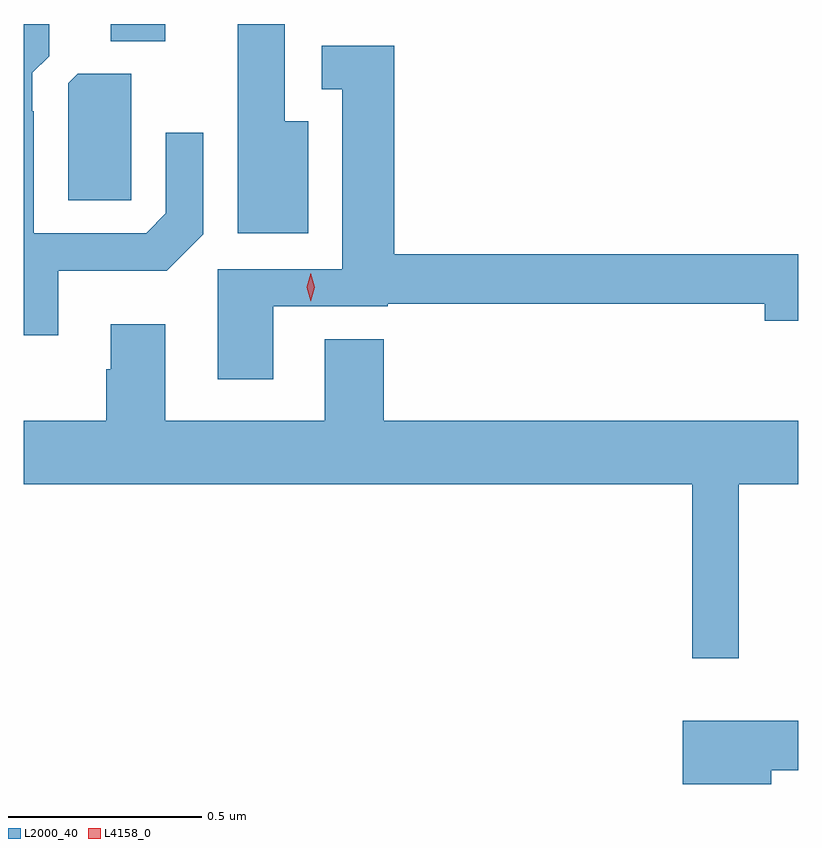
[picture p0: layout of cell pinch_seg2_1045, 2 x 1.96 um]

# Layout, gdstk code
import gdstk
lib = gdstk.Library(unit=1e-6, precision=1e-09)
def R(c, l, rs):  # rectangles x0, y0, x1, y1
    for r in rs: c.add(gdstk.rectangle(r[:2], r[2:], *l))
def P(c, l, *ps):  # polygons
    for p in ps: c.add(gdstk.Polygon(p, *l))
L2000_40 = (2000, 40)
L4158_0 = (4158, 0)

pinch_seg2_1045 = lib.new_cell('pinch_seg2_1045')
R(pinch_seg2_1045, L2000_40, [(256.007,603.493,256.147,603.537)])
P(pinch_seg2_1045, L2000_40, [(255.871,602.9),(256.151,602.9),(256.245,602.994),(256.245,603.256),(256.149,603.256),(256.149,603.048),(256.098,602.997),(255.807,602.997),(255.807,603.311),(255.804,603.311),(255.804,603.411),(255.847,603.454),(255.847,603.537),(255.782,603.537),(255.782,602.733),(255.871,602.733)],
  [(256.516,603.286),(256.456,603.286),(256.456,603.537),(256.334,603.537),(256.334,602.996),(256.516,602.996)],
  [(256.426,602.808),(256.722,602.808),(256.722,602.814),(257.696,602.814),(257.696,602.771),(257.782,602.771),(257.782,602.942),(256.739,602.942),(256.739,603.481),(256.551,603.481),(256.551,603.368),(256.604,603.368),(256.604,602.904),(256.283,602.904),(256.283,602.619),(256.426,602.619)],
  [(256.059,603.193),(256.06,603.193),(256.06,603.408),(255.921,603.408),(255.897,603.384),(255.897,603.082),(256.059,603.082)],
  [(257.629,602.348),(257.782,602.348),(257.782,602.512),(256.712,602.512),(256.712,602.723),(256.559,602.723),(256.559,602.512),(256.147,602.512),(256.147,602.761),(256.007,602.761),(256.007,602.645),(255.995,602.645),(255.995,602.512),(255.782,602.512),(255.782,602.348),(257.508,602.348),(257.508,601.899),(257.629,601.899)],
  [(257.713,601.61),(257.782,601.61),(257.782,601.738),(257.484,601.738),(257.484,601.574),(257.713,601.574)])
P(pinch_seg2_1045, L4158_0, [(256.523,602.821),(256.523,602.821),(256.513,602.857),(256.523,602.893),(256.523,602.893),(256.523,602.893),(256.533,602.857),(256.523,602.821)])

lib.write_gds('pinch_seg2_1045.gds')
